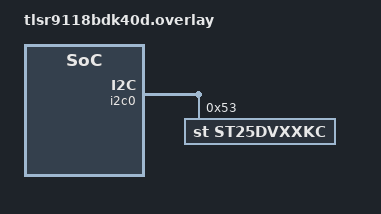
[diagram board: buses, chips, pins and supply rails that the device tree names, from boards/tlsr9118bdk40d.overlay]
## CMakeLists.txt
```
#
# Copyright (c) 2023 Sendrato
#
# SPDX-License-Identifier: Apache-2.0
#

cmake_minimum_required(VERSION 3.20.0)

find_package(Zephyr REQUIRED HINTS $ENV{ZEPHYR_BASE})
project(nfc-tag)

target_sources(app PRIVATE src/main.c)
```

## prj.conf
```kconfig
#
# Copyright (c) 2023 Sendrato
#
# SPDX-License-Identifier: Apache-2.0
#

CONFIG_NFC=y
CONFIG_LOG=y
CONFIG_LOG_MODE_MINIMAL=y
CONFIG_ST25DVXXKC_LOG_LEVEL_DBG=y
```

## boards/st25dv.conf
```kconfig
#
# Copyright (c) 2023 Telink Semiconductor
#
# SPDX-License-Identifier: Apache-2.0
#

# NFC driver selection for qn9090 DK6 development board

CONFIG_I2C=y
CONFIG_ST25DVXXKC=y
CONFIG_ST25DVXXKC_LOG_LEVEL_INF=y
CONFIG_NEWLIB_LIBC=y
```

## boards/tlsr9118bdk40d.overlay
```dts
/*
 * Copyright (c) 2026 Telink Semiconductor
 *
 * SPDX-License-Identifier: Apache-2.0
 */

&i2c0 {
	status = "okay";
	st25dvxxkc: st25dvxxkc@53 {
		compatible = "st,st25dvxxkc";
		status = "okay";
		reg = <0x53>, <0x57>;
	};
};
```

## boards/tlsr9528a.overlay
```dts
/*
 * Copyright (c) 2026 Telink Semiconductor
 *
 * SPDX-License-Identifier: Apache-2.0
 */

&i2c {
	status = "okay";
	st25dvxxkc: st25dvxxkc@53 {
		compatible = "st,st25dvxxkc";
		status = "okay";
		reg = <0x53>, <0x57>;
	};
};
```

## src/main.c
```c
/*
 * Copyright (c) 2023 Sendrato
 *
 * SPDX-License-Identifier: Apache-2.0
 *
 * Modifications:
 * Copyright (c) 2025 Telink Semiconductor
 *
 * SPDX-License-Identifier: Apache-2.0
 */

#include <zephyr/drivers/nfc/nfc_tag.h>

#include <zephyr/logging/log.h>

LOG_MODULE_REGISTER(nfc_tag, LOG_LEVEL_INF);

static void nfc_callback(const struct device *dev, enum nfc_tag_event event, const uint8_t *data,
			 size_t data_len)
{
	LOG_INF("%s NFC event %u", dev->name, event);
	LOG_HEXDUMP_INF(data, data_len, "NFC event data");
}

int main(void)
{
	int result;

	do {
		const struct device *dev = DEVICE_DT_GET(DT_NODELABEL(st25dvxxkc));

		LOG_INF("NFC tag example");
		if (!device_is_ready(dev)) {

			LOG_ERR("NFC device not ready");
			result = -ENODEV;
			break;
		}
		result = nfc_tag_init(dev, nfc_callback);
		if (result) {
			LOG_ERR("Can't init tag");
			break;
		}
		result = nfc_tag_set_type(dev, NFC_TAG_TYPE_T5T);
		if (result) {
			LOG_ERR("Can't set tag type");
			break;
		}

		uint8_t ndef[] = {0xd1, 0x01, 0x0f, 0x54, 0x02, 0x65, 0x6e, 0x48, 0x65, 0x6c,
				  0x6c, 0x6f, 0x20, 0x57, 0x6f, 0x72, 0x6c, 0x64, 0x21};

		result = nfc_tag_set_ndef(dev, ndef, sizeof(ndef));
		if (result) {
			LOG_ERR("Can't set tag data");
			break;
		}
		result = nfc_tag_start(dev);
		if (result) {
			LOG_ERR("Can't start tag");
			break;
		}
		LOG_INF("NFC tag configured");
	} while (0);

	return result;
}
```
